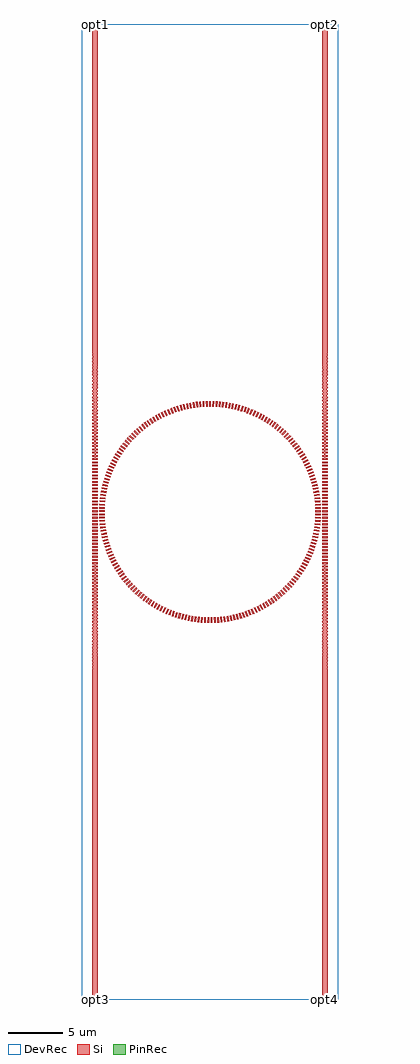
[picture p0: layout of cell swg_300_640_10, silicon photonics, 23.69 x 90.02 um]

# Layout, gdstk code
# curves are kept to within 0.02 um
import gdstk
lib = gdstk.Library(unit=1e-6, precision=1e-09)
def R(c, l, rs):  # rectangles x0, y0, x1, y1
    for r in rs: c.add(gdstk.rectangle(r[:2], r[2:], *l))
def A(c, l, x, y, w, h, nx, ny, dx, dy):  # array of equal rectangles
    R(c, l, [(x+i*dx, y+j*dy, x+i*dx+w, y+j*dy+h) for i in range(nx) for j in range(ny)])
def P(c, l, *ps):  # polygons
    for p in ps: c.add(gdstk.Polygon(p, *l))
Si = (1, 0)
PinRec = (1, 10)
DevRec = (68, 0)

swg_300_640_10 = lib.new_cell('swg_300_640_10')
A(swg_300_640_10, Si, 0, 40.5, 0.5, 0.15, 1, 31, 0, 0.3)
A(swg_300_640_10, Si, 21.188, 40.5, 0.5, 0.15, 1, 31, 0, 0.3)
P(swg_300_640_10, Si, [(0,49.8),(0,49.95),(0.218,49.95),(0.214,50.1),(0,50.1),(0,50.25),(0.211,50.25),(0.208,50.4),(0,50.4),(0,50.55),(0.205,50.55),(0.201,50.7),(0,50.7),(0,50.85),(0.198,50.85),(0.195,51),(0,51),(0,51.15),(0.191,51.15),(0.188,51.3),(0,51.3),(0,51.45),(0.185,51.45),(0.181,51.6),(0,51.6),(0,51.75),(0.178,51.75),(0.175,51.9),(0,51.9),(0,52.05),(0.172,52.05),(0.168,52.2),(0,52.2),(0,52.35),(0.165,52.35),(0.162,52.5),(0,52.5),(0,52.65),(0.158,52.65),(0.155,52.8),(0,52.8),(0,52.95),(0.152,52.95),(0.148,53.1),(0,53.1),(0,53.25),(0.145,53.25),(0.142,53.4),(0,53.4),(0,53.55),(0.139,53.55),(0.135,53.7),(0,53.7),(0,53.85),(0.132,53.85),(0.129,54),(0,54),(0,54.15),(0.125,54.15),(0.122,54.3),(0,54.3),(0,54.45),(0.119,54.45),(0.115,54.6),(0,54.6),(0,54.75),(0.112,54.75),(0.109,54.9),(0,54.9),(0,55.05),(0.106,55.05),(0.102,55.2),(0,55.2),(0,55.35),(0.099,55.35),(0.096,55.5),(0,55.5),(0,55.65),(0.092,55.65),(0.089,55.8),(0,55.8),(0,55.95),(0.086,55.95),(0.082,56.1),(0,56.1),(0,56.25),(0.079,56.25),(0.076,56.4),(0,56.4),(0,56.55),(0.073,56.55),(0.069,56.7),(0,56.7),(0,56.85),(0.066,56.85),(0.063,57),(0,57),(0,57.15),(0.059,57.15),(0.056,57.3),(0,57.3),(0,57.45),(0.053,57.45),(0.049,57.6),(0,57.6),(0,57.75),(0.046,57.75),(0.043,57.9),(0,57.9),(0,58.05),(0.04,58.05),(0.036,58.2),(0,58.2),(0,58.35),(0.033,58.35),(0.03,58.5),(0,58.5),(0,58.65),(0.026,58.65),(0.023,58.8),(0,58.8),(0,90),(0.5,90),(0.5,58.8),(0.477,58.8),(0.474,58.65),(0.5,58.65),(0.5,58.5),(0.47,58.5),(0.467,58.35),(0.5,58.35),(0.5,58.2),(0.464,58.2),(0.46,58.05),(0.5,58.05),(0.5,57.9),(0.457,57.9),(0.454,57.75),(0.5,57.75),(0.5,57.6),(0.45,57.6),(0.447,57.45),(0.5,57.45),(0.5,57.3),(0.444,57.3),(0.441,57.15),(0.5,57.15),(0.5,57),(0.437,57),(0.434,56.85),(0.5,56.85),(0.5,56.7),(0.431,56.7),(0.427,56.55),(0.5,56.55),(0.5,56.4),(0.424,56.4),(0.421,56.25),(0.5,56.25),(0.5,56.1),(0.417,56.1),(0.414,55.95),(0.5,55.95),(0.5,55.8),(0.411,55.8),(0.408,55.65),(0.5,55.65),(0.5,55.5),(0.404,55.5),(0.401,55.35),(0.5,55.35),(0.5,55.2),(0.398,55.2),(0.394,55.05),(0.5,55.05),(0.5,54.9),(0.391,54.9),(0.388,54.75),(0.5,54.75),(0.5,54.6),(0.384,54.6),(0.381,54.45),(0.5,54.45),(0.5,54.3),(0.378,54.3),(0.375,54.15),(0.5,54.15),(0.5,54),(0.371,54),(0.368,53.85),(0.5,53.85),(0.5,53.7),(0.365,53.7),(0.361,53.55),(0.5,53.55),(0.5,53.4),(0.358,53.4),(0.355,53.25),(0.5,53.25),(0.5,53.1),(0.351,53.1),(0.348,52.95),(0.5,52.95),(0.5,52.8),(0.345,52.8),(0.342,52.65),(0.5,52.65),(0.5,52.5),(0.338,52.5),(0.335,52.35),(0.5,52.35),(0.5,52.2),(0.332,52.2),(0.328,52.05),(0.5,52.05),(0.5,51.9),(0.325,51.9),(0.322,51.75),(0.5,51.75),(0.5,51.6),(0.318,51.6),(0.315,51.45),(0.5,51.45),(0.5,51.3),(0.312,51.3),(0.309,51.15),(0.5,51.15),(0.5,51),(0.305,51),(0.302,50.85),(0.5,50.85),(0.5,50.7),(0.299,50.7),(0.295,50.55),(0.5,50.55),(0.5,50.4),(0.292,50.4),(0.289,50.25),(0.5,50.25),(0.5,50.1),(0.285,50.1),(0.282,49.95),(0.5,49.95),(0.5,49.8)],
  [(21.188,49.8),(21.188,49.95),(21.406,49.95),(21.402,50.1),(21.188,50.1),(21.188,50.25),(21.399,50.25),(21.396,50.4),(21.188,50.4),(21.188,50.55),(21.393,50.55),(21.389,50.7),(21.188,50.7),(21.188,50.85),(21.386,50.85),(21.383,51),(21.188,51),(21.188,51.15),(21.379,51.15),(21.376,51.3),(21.188,51.3),(21.188,51.45),(21.373,51.45),(21.369,51.6),(21.188,51.6),(21.188,51.75),(21.366,51.75),(21.363,51.9),(21.188,51.9),(21.188,52.05),(21.36,52.05),(21.356,52.2),(21.188,52.2),(21.188,52.35),(21.353,52.35),(21.35,52.5),(21.188,52.5),(21.188,52.65),(21.346,52.65),(21.343,52.8),(21.188,52.8),(21.188,52.95),(21.34,52.95),(21.336,53.1),(21.188,53.1),(21.188,53.25),(21.333,53.25),(21.33,53.4),(21.188,53.4),(21.188,53.55),(21.327,53.55),(21.323,53.7),(21.188,53.7),(21.188,53.85),(21.32,53.85),(21.317,54),(21.188,54),(21.188,54.15),(21.313,54.15),(21.31,54.3),(21.188,54.3),(21.188,54.45),(21.307,54.45),(21.303,54.6),(21.188,54.6),(21.188,54.75),(21.3,54.75),(21.297,54.9),(21.188,54.9),(21.188,55.05),(21.294,55.05),(21.29,55.2),(21.188,55.2),(21.188,55.35),(21.287,55.35),(21.284,55.5),(21.188,55.5),(21.188,55.65),(21.28,55.65),(21.277,55.8),(21.188,55.8),(21.188,55.95),(21.274,55.95),(21.27,56.1),(21.188,56.1),(21.188,56.25),(21.267,56.25),(21.264,56.4),(21.188,56.4),(21.188,56.55),(21.261,56.55),(21.257,56.7),(21.188,56.7),(21.188,56.85),(21.254,56.85),(21.251,57),(21.188,57),(21.188,57.15),(21.247,57.15),(21.244,57.3),(21.188,57.3),(21.188,57.45),(21.241,57.45),(21.237,57.6),(21.188,57.6),(21.188,57.75),(21.234,57.75),(21.231,57.9),(21.188,57.9),(21.188,58.05),(21.228,58.05),(21.224,58.2),(21.188,58.2),(21.188,58.35),(21.221,58.35),(21.218,58.5),(21.188,58.5),(21.188,58.65),(21.214,58.65),(21.211,58.8),(21.188,58.8),(21.188,90),(21.688,90),(21.688,58.8),(21.665,58.8),(21.662,58.65),(21.688,58.65),(21.688,58.5),(21.658,58.5),(21.655,58.35),(21.688,58.35),(21.688,58.2),(21.652,58.2),(21.648,58.05),(21.688,58.05),(21.688,57.9),(21.645,57.9),(21.642,57.75),(21.688,57.75),(21.688,57.6),(21.638,57.6),(21.635,57.45),(21.688,57.45),(21.688,57.3),(21.632,57.3),(21.629,57.15),(21.688,57.15),(21.688,57),(21.625,57),(21.622,56.85),(21.688,56.85),(21.688,56.7),(21.619,56.7),(21.615,56.55),(21.688,56.55),(21.688,56.4),(21.612,56.4),(21.609,56.25),(21.688,56.25),(21.688,56.1),(21.605,56.1),(21.602,55.95),(21.688,55.95),(21.688,55.8),(21.599,55.8),(21.596,55.65),(21.688,55.65),(21.688,55.5),(21.592,55.5),(21.589,55.35),(21.688,55.35),(21.688,55.2),(21.586,55.2),(21.582,55.05),(21.688,55.05),(21.688,54.9),(21.579,54.9),(21.576,54.75),(21.688,54.75),(21.688,54.6),(21.572,54.6),(21.569,54.45),(21.688,54.45),(21.688,54.3),(21.566,54.3),(21.563,54.15),(21.688,54.15),(21.688,54),(21.559,54),(21.556,53.85),(21.688,53.85),(21.688,53.7),(21.553,53.7),(21.549,53.55),(21.688,53.55),(21.688,53.4),(21.546,53.4),(21.543,53.25),(21.688,53.25),(21.688,53.1),(21.539,53.1),(21.536,52.95),(21.688,52.95),(21.688,52.8),(21.533,52.8),(21.53,52.65),(21.688,52.65),(21.688,52.5),(21.526,52.5),(21.523,52.35),(21.688,52.35),(21.688,52.2),(21.52,52.2),(21.516,52.05),(21.688,52.05),(21.688,51.9),(21.513,51.9),(21.51,51.75),(21.688,51.75),(21.688,51.6),(21.506,51.6),(21.503,51.45),(21.688,51.45),(21.688,51.3),(21.5,51.3),(21.497,51.15),(21.688,51.15),(21.688,51),(21.493,51),(21.49,50.85),(21.688,50.85),(21.688,50.7),(21.487,50.7),(21.483,50.55),(21.688,50.55),(21.688,50.4),(21.48,50.4),(21.477,50.25),(21.688,50.25),(21.688,50.1),(21.473,50.1),(21.47,49.95),(21.688,49.95),(21.688,49.8)],
  [(10.772,54.729),(10.768,55.229),(10.922,55.229),(10.918,54.729)],
  [(2.506,50.013),(2.077,50.271),(2.158,50.402),(2.582,50.138)],
  [(2.088,49.242),(1.638,49.46),(1.707,49.598),(2.153,49.373)],
  [(1.396,47.319),(0.91,47.439),(0.948,47.588),(1.431,47.461)],
  [(1.643,48.161),(1.17,48.323),(1.221,48.468),(1.691,48.299)],
  [(1.225,46.459),(0.731,46.534),(0.755,46.686),(1.248,46.603)],
  [(1.469,47.602),(0.988,47.736),(1.03,47.884),(1.51,47.743)],
  [(10.48,54.722),(10.461,55.222),(10.615,55.226),(10.626,54.727)],
  [(1.965,48.977),(1.509,49.181),(1.572,49.321),(2.026,49.11)],
  [(2.66,50.261),(2.24,50.532),(2.324,50.661),(2.74,50.384)],
  [(6.279,53.592),(6.045,54.033),(6.181,54.104),(6.409,53.659)],
  [(1.742,48.436),(1.274,48.613),(1.33,48.756),(1.795,48.572)],
  [(4.149,52.059),(3.805,52.422),(3.917,52.527),(4.256,52.159)],
  [(6.54,53.725),(6.318,54.173),(6.457,54.24),(6.671,53.789)],
  [(9.028,54.558),(8.935,55.049),(9.086,55.077),(9.172,54.584)],
  [(1.849,48.708),(1.387,48.899),(1.447,49.04),(1.906,48.843)],
  [(5.771,53.302),(5.511,53.729),(5.642,53.808),(5.897,53.377)],
  [(1.155,45.878),(0.657,45.924),(0.672,46.077),(1.169,46.024)],
  [(4.812,52.633),(4.502,53.026),(4.623,53.12),(4.927,52.723)],
  [(6.023,53.451),(5.775,53.885),(5.909,53.96),(6.151,53.522)],
  [(3.541,51.428),(3.165,51.758),(3.268,51.873),(3.638,51.537)],
  [(10.188,54.707),(10.154,55.206),(10.307,55.215),(10.334,54.716)],
  [(0.615,45.002),(0.616,45.156),(1.116,45.149),(1.115,45.002)],
  [(3.168,50.977),(2.773,51.284),(2.868,51.405),(3.258,51.092)],
  [(1.186,46.169),(0.689,46.229),(0.709,46.382),(1.204,46.314)],
  [(5.044,52.811),(4.746,53.213),(4.87,53.303),(5.162,52.898)],
  [(2.822,50.505),(2.41,50.788),(2.498,50.914),(2.906,50.625)],
  [(1.273,46.748),(0.781,46.837),(0.81,46.988),(1.301,46.891)],
  [(7.072,53.968),(6.878,54.429),(7.02,54.487),(7.207,54.024)],
  [(4.585,52.449),(4.264,52.832),(4.382,52.93),(4.698,52.542)],
  [(5.524,53.146),(5.251,53.564),(5.38,53.647),(5.647,53.225)],
  [(7.343,54.077),(7.163,54.544),(7.307,54.598),(7.48,54.129)],
  [(8.175,54.356),(8.037,54.836),(8.186,54.878),(8.315,54.395)],
  [(2.22,49.503),(1.777,49.735),(1.849,49.87),(2.289,49.632)],
  [(1.119,45.295),(0.62,45.31),(0.625,45.464),(1.125,45.441)],
  [(4.364,52.257),(4.031,52.63),(4.147,52.732),(4.474,52.354)],
  [(1.552,47.883),(1.074,48.031),(1.121,48.178),(1.596,48.022)],
  [(9.606,54.65),(9.542,55.146),(9.695,55.164),(9.751,54.667)],
  [(9.316,54.608),(9.238,55.102),(9.39,55.125),(9.461,54.63)],
  [(3.351,51.205),(2.966,51.524),(3.065,51.642),(3.445,51.317)],
  [(8.457,54.432),(8.334,54.916),(8.484,54.953),(8.599,54.466)],
  [(6.804,53.85),(6.596,54.305),(6.736,54.368),(6.937,53.91)],
  [(3.737,51.644),(3.372,51.986),(3.478,52.097),(3.838,51.75)],
  [(3.94,51.855),(3.585,52.207),(3.694,52.315),(4.044,51.958)],
  [(2.991,50.744),(2.588,51.039),(2.68,51.162),(3.079,50.861)],
  [(7.617,54.178),(7.451,54.65),(7.597,54.7),(7.756,54.226)],
  [(5.282,52.982),(4.996,53.392),(5.123,53.479),(5.402,53.065)],
  [(7.895,54.271),(7.743,54.748),(7.89,54.793),(8.034,54.314)],
  [(1.133,45.587),(0.634,45.617),(0.644,45.77),(1.143,45.733)],
  [(8.742,54.499),(8.633,54.987),(8.784,55.019),(8.885,54.53)],
  [(1.33,47.034),(0.841,47.139),(0.874,47.289),(1.362,47.177)],
  [(2.359,49.76),(1.923,50.005),(1.999,50.138),(2.432,49.887)],
  [(9.896,54.683),(9.847,55.18),(10.001,55.194),(10.042,54.696)],
  [(16.408,52.981),(16.288,53.064),(16.567,53.478),(16.694,53.391)],
  [(17.104,52.447),(16.992,52.54),(17.308,52.928),(17.426,52.83)],
  [(15.667,53.449),(15.539,53.521),(15.781,53.959),(15.915,53.884)],
  [(17.325,52.256),(17.216,52.352),(17.543,52.73),(17.659,52.629)],
  [(16.166,53.144),(16.043,53.223),(16.31,53.646),(16.439,53.563)],
  [(12.085,54.65),(11.94,54.667),(11.996,55.164),(12.148,55.145)],
  [(11.211,54.722),(11.064,54.727),(11.076,55.226),(11.229,55.222)],
  [(14.886,53.849),(14.753,53.909),(14.954,54.367),(15.094,54.304)],
  [(14.347,54.076),(14.21,54.128),(14.384,54.597),(14.527,54.543)],
  [(17.541,52.058),(17.434,52.157),(17.772,52.525),(17.885,52.42)],
  [(16.878,52.632),(16.762,52.722),(17.067,53.119),(17.188,53.024)],
  [(14.073,54.178),(13.935,54.225),(14.093,54.699),(14.239,54.649)],
  [(18.149,51.426),(18.052,51.535),(18.422,51.871),(18.524,51.756)],
  [(15.919,53.301),(15.793,53.376),(16.048,53.806),(16.179,53.727)],
  [(11.794,54.683),(11.649,54.696),(11.69,55.194),(11.843,55.18)],
  [(19.84,48.706),(19.783,48.841),(20.242,49.038),(20.302,48.896)],
  [(18.698,50.742),(18.611,50.859),(19.01,51.16),(19.102,51.037)],
  [(13.233,54.431),(13.091,54.466),(13.207,54.952),(13.356,54.916)],
  [(12.662,54.558),(12.518,54.584),(12.604,55.076),(12.756,55.049)],
  [(18.339,51.203),(18.245,51.315),(18.625,51.64),(18.724,51.522)],
  [(20.555,45.585),(20.546,45.73),(21.044,45.768),(21.055,45.615)],
  [(20.415,46.745),(20.388,46.889),(20.878,46.986),(20.907,46.835)],
  [(20.463,46.457),(20.44,46.601),(20.934,46.684),(20.958,46.532)],
  [(11.503,54.707),(11.357,54.715),(11.383,55.215),(11.537,55.206)],
  [(15.15,53.724),(15.019,53.788),(15.233,54.239),(15.372,54.172)],
  [(14.619,53.967),(14.483,54.023),(14.67,54.486),(14.813,54.428)],
  [(12.949,54.499),(12.806,54.529),(12.907,55.019),(13.057,54.987)],
  [(18.867,50.503),(18.783,50.623),(19.191,50.912),(19.279,50.786)],
  [(16.646,52.81),(16.528,52.896),(16.82,53.302),(16.944,53.211)],
  [(20.137,47.881),(20.092,48.02),(20.568,48.175),(20.614,48.029)],
  [(13.796,54.27),(13.656,54.314),(13.8,54.792),(13.947,54.747)],
  [(19.469,49.501),(19.401,49.63),(19.84,49.868),(19.912,49.732)],
  [(19.33,49.758),(19.258,49.885),(19.69,50.136),(19.766,50.003)],
  [(13.516,54.355),(13.375,54.394),(13.505,54.877),(13.653,54.836)],
  [(19.947,48.434),(19.894,48.57),(20.359,48.754),(20.415,48.61)],
  [(20.503,46.167),(20.484,46.312),(20.98,46.38),(20.999,46.227)],
  [(20.573,45),(20.572,45.146),(21.072,45.154),(21.073,45)],
  [(19.183,50.011),(19.107,50.136),(19.532,50.4),(19.612,50.269)],
  [(19.029,50.26),(18.949,50.382),(19.365,50.659),(19.449,50.53)],
  [(17.953,51.642),(17.852,51.749),(18.212,52.095),(18.318,51.984)],
  [(20.293,47.317),(20.257,47.459),(20.741,47.585),(20.779,47.436)],
  [(19.601,49.24),(19.536,49.371),(19.983,49.596),(20.051,49.458)],
  [(18.522,50.975),(18.431,51.09),(18.821,51.403),(18.916,51.282)],
  [(20.046,48.159),(19.997,48.297),(20.468,48.466),(20.519,48.321)],
  [(20.219,47.6),(20.179,47.741),(20.659,47.882),(20.701,47.734)],
  [(15.411,53.591),(15.281,53.658),(15.509,54.103),(15.645,54.032)],
  [(19.724,48.975),(19.663,49.108),(20.117,49.319),(20.18,49.179)],
  [(20.358,47.032),(20.327,47.175),(20.814,47.287),(20.847,47.137)],
  [(20.569,45.292),(20.563,45.439),(21.063,45.461),(21.068,45.307)],
  [(20.533,45.876),(20.519,46.022),(21.016,46.074),(21.031,45.921)],
  [(12.374,54.608),(12.23,54.63),(12.301,55.125),(12.453,55.102)],
  [(17.75,51.853),(17.646,51.956),(17.995,52.314),(18.105,52.205)],
  [(0,0),(0,31.35),(0.023,31.35),(0.026,31.5),(0,31.5),(0,31.65),(0.03,31.65),(0.033,31.8),(0,31.8),(0,31.95),(0.036,31.95),(0.04,32.1),(0,32.1),(0,32.25),(0.043,32.25),(0.046,32.4),(0,32.4),(0,32.55),(0.049,32.55),(0.053,32.7),(0,32.7),(0,32.85),(0.056,32.85),(0.059,33),(0,33),(0,33.15),(0.063,33.15),(0.066,33.3),(0,33.3),(0,33.45),(0.069,33.45),(0.073,33.6),(0,33.6),(0,33.75),(0.076,33.75),(0.079,33.9),(0,33.9),(0,34.05),(0.082,34.05),(0.086,34.2),(0,34.2),(0,34.35),(0.089,34.35),(0.092,34.5),(0,34.5),(0,34.65),(0.096,34.65),(0.099,34.8),(0,34.8),(0,34.95),(0.102,34.95),(0.106,35.1),(0,35.1),(0,35.25),(0.109,35.25),(0.112,35.4),(0,35.4),(0,35.55),(0.115,35.55),(0.119,35.7),(0,35.7),(0,35.85),(0.122,35.85),(0.125,36),(0,36),(0,36.15),(0.129,36.15),(0.132,36.3),(0,36.3),(0,36.45),(0.135,36.45),(0.139,36.6),(0,36.6),(0,36.75),(0.142,36.75),(0.145,36.9),(0,36.9),(0,37.05),(0.148,37.05),(0.152,37.2),(0,37.2),(0,37.35),(0.155,37.35),(0.158,37.5),(0,37.5),(0,37.65),(0.162,37.65),(0.165,37.8),(0,37.8),(0,37.95),(0.168,37.95),(0.172,38.1),(0,38.1),(0,38.25),(0.175,38.25),(0.178,38.4),(0,38.4),(0,38.55),(0.181,38.55),(0.185,38.7),(0,38.7),(0,38.85),(0.188,38.85),(0.191,39),(0,39),(0,39.15),(0.195,39.15),(0.198,39.3),(0,39.3),(0,39.45),(0.201,39.45),(0.205,39.6),(0,39.6),(0,39.75),(0.208,39.75),(0.211,39.9),(0,39.9),(0,40.05),(0.214,40.05),(0.218,40.2),(0,40.2),(0,40.35),(0.5,40.35),(0.5,40.2),(0.282,40.2),(0.285,40.05),(0.5,40.05),(0.5,39.9),(0.289,39.9),(0.292,39.75),(0.5,39.75),(0.5,39.6),(0.295,39.6),(0.299,39.45),(0.5,39.45),(0.5,39.3),(0.302,39.3),(0.305,39.15),(0.5,39.15),(0.5,39),(0.309,39),(0.312,38.85),(0.5,38.85),(0.5,38.7),(0.315,38.7),(0.318,38.55),(0.5,38.55),(0.5,38.4),(0.322,38.4),(0.325,38.25),(0.5,38.25),(0.5,38.1),(0.328,38.1),(0.332,37.95),(0.5,37.95),(0.5,37.8),(0.335,37.8),(0.338,37.65),(0.5,37.65),(0.5,37.5),(0.342,37.5),(0.345,37.35),(0.5,37.35),(0.5,37.2),(0.348,37.2),(0.351,37.05),(0.5,37.05),(0.5,36.9),(0.355,36.9),(0.358,36.75),(0.5,36.75),(0.5,36.6),(0.361,36.6),(0.365,36.45),(0.5,36.45),(0.5,36.3),(0.368,36.3),(0.371,36.15),(0.5,36.15),(0.5,36),(0.375,36),(0.378,35.85),(0.5,35.85),(0.5,35.7),(0.381,35.7),(0.384,35.55),(0.5,35.55),(0.5,35.4),(0.388,35.4),(0.391,35.25),(0.5,35.25),(0.5,35.1),(0.394,35.1),(0.398,34.95),(0.5,34.95),(0.5,34.8),(0.401,34.8),(0.404,34.65),(0.5,34.65),(0.5,34.5),(0.408,34.5),(0.411,34.35),(0.5,34.35),(0.5,34.2),(0.414,34.2),(0.417,34.05),(0.5,34.05),(0.5,33.9),(0.421,33.9),(0.424,33.75),(0.5,33.75),(0.5,33.6),(0.427,33.6),(0.431,33.45),(0.5,33.45),(0.5,33.3),(0.434,33.3),(0.437,33.15),(0.5,33.15),(0.5,33),(0.441,33),(0.444,32.85),(0.5,32.85),(0.5,32.7),(0.447,32.7),(0.45,32.55),(0.5,32.55),(0.5,32.4),(0.454,32.4),(0.457,32.25),(0.5,32.25),(0.5,32.1),(0.46,32.1),(0.464,31.95),(0.5,31.95),(0.5,31.8),(0.467,31.8),(0.47,31.65),(0.5,31.65),(0.5,31.5),(0.474,31.5),(0.477,31.35),(0.5,31.35),(0.5,0)],
  [(21.188,0),(21.188,31.35),(21.211,31.35),(21.214,31.5),(21.188,31.5),(21.188,31.65),(21.218,31.65),(21.221,31.8),(21.188,31.8),(21.188,31.95),(21.224,31.95),(21.228,32.1),(21.188,32.1),(21.188,32.25),(21.231,32.25),(21.234,32.4),(21.188,32.4),(21.188,32.55),(21.237,32.55),(21.241,32.7),(21.188,32.7),(21.188,32.85),(21.244,32.85),(21.247,33),(21.188,33),(21.188,33.15),(21.251,33.15),(21.254,33.3),(21.188,33.3),(21.188,33.45),(21.257,33.45),(21.261,33.6),(21.188,33.6),(21.188,33.75),(21.264,33.75),(21.267,33.9),(21.188,33.9),(21.188,34.05),(21.27,34.05),(21.274,34.2),(21.188,34.2),(21.188,34.35),(21.277,34.35),(21.28,34.5),(21.188,34.5),(21.188,34.65),(21.284,34.65),(21.287,34.8),(21.188,34.8),(21.188,34.95),(21.29,34.95),(21.294,35.1),(21.188,35.1),(21.188,35.25),(21.297,35.25),(21.3,35.4),(21.188,35.4),(21.188,35.55),(21.303,35.55),(21.307,35.7),(21.188,35.7),(21.188,35.85),(21.31,35.85),(21.313,36),(21.188,36),(21.188,36.15),(21.317,36.15),(21.32,36.3),(21.188,36.3),(21.188,36.45),(21.323,36.45),(21.327,36.6),(21.188,36.6),(21.188,36.75),(21.33,36.75),(21.333,36.9),(21.188,36.9),(21.188,37.05),(21.336,37.05),(21.34,37.2),(21.188,37.2),(21.188,37.35),(21.343,37.35),(21.346,37.5),(21.188,37.5),(21.188,37.65),(21.35,37.65),(21.353,37.8),(21.188,37.8),(21.188,37.95),(21.356,37.95),(21.36,38.1),(21.188,38.1),(21.188,38.25),(21.363,38.25),(21.366,38.4),(21.188,38.4),(21.188,38.55),(21.369,38.55),(21.373,38.7),(21.188,38.7),(21.188,38.85),(21.376,38.85),(21.379,39),(21.188,39),(21.188,39.15),(21.383,39.15),(21.386,39.3),(21.188,39.3),(21.188,39.45),(21.389,39.45),(21.393,39.6),(21.188,39.6),(21.188,39.75),(21.396,39.75),(21.399,39.9),(21.188,39.9),(21.188,40.05),(21.402,40.05),(21.406,40.2),(21.188,40.2),(21.188,40.35),(21.688,40.35),(21.688,40.2),(21.47,40.2),(21.473,40.05),(21.688,40.05),(21.688,39.9),(21.477,39.9),(21.48,39.75),(21.688,39.75),(21.688,39.6),(21.483,39.6),(21.487,39.45),(21.688,39.45),(21.688,39.3),(21.49,39.3),(21.493,39.15),(21.688,39.15),(21.688,39),(21.497,39),(21.5,38.85),(21.688,38.85),(21.688,38.7),(21.503,38.7),(21.506,38.55),(21.688,38.55),(21.688,38.4),(21.51,38.4),(21.513,38.25),(21.688,38.25),(21.688,38.1),(21.516,38.1),(21.52,37.95),(21.688,37.95),(21.688,37.8),(21.523,37.8),(21.526,37.65),(21.688,37.65),(21.688,37.5),(21.53,37.5),(21.533,37.35),(21.688,37.35),(21.688,37.2),(21.536,37.2),(21.539,37.05),(21.688,37.05),(21.688,36.9),(21.543,36.9),(21.546,36.75),(21.688,36.75),(21.688,36.6),(21.549,36.6),(21.553,36.45),(21.688,36.45),(21.688,36.3),(21.556,36.3),(21.559,36.15),(21.688,36.15),(21.688,36),(21.563,36),(21.566,35.85),(21.688,35.85),(21.688,35.7),(21.569,35.7),(21.572,35.55),(21.688,35.55),(21.688,35.4),(21.576,35.4),(21.579,35.25),(21.688,35.25),(21.688,35.1),(21.582,35.1),(21.586,34.95),(21.688,34.95),(21.688,34.8),(21.589,34.8),(21.592,34.65),(21.688,34.65),(21.688,34.5),(21.596,34.5),(21.599,34.35),(21.688,34.35),(21.688,34.2),(21.602,34.2),(21.605,34.05),(21.688,34.05),(21.688,33.9),(21.609,33.9),(21.612,33.75),(21.688,33.75),(21.688,33.6),(21.615,33.6),(21.619,33.45),(21.688,33.45),(21.688,33.3),(21.622,33.3),(21.625,33.15),(21.688,33.15),(21.688,33),(21.629,33),(21.632,32.85),(21.688,32.85),(21.688,32.7),(21.635,32.7),(21.638,32.55),(21.688,32.55),(21.688,32.4),(21.642,32.4),(21.645,32.25),(21.688,32.25),(21.688,32.1),(21.648,32.1),(21.652,31.95),(21.688,31.95),(21.688,31.8),(21.655,31.8),(21.658,31.65),(21.688,31.65),(21.688,31.5),(21.662,31.5),(21.665,31.35),(21.688,31.35),(21.688,0)],
  [(19.447,39.466),(19.026,39.737),(19.104,39.86),(19.529,39.596)],
  [(11.225,34.778),(11.206,35.278),(11.352,35.284),(11.378,34.785)],
  [(18.521,38.24),(18.146,38.571),(18.242,38.681),(18.622,38.356)],
  [(17.655,37.368),(17.322,37.741),(17.43,37.839),(17.769,37.471)],
  [(14.234,35.349),(14.069,35.821),(14.206,35.87),(14.379,35.401)],
  [(21.054,44.381),(20.555,44.411),(20.563,44.557),(21.062,44.534)],
  [(15.641,35.966),(15.407,36.407),(15.535,36.477),(15.776,36.039)],
  [(15.367,35.826),(15.146,36.274),(15.277,36.34),(15.505,35.895)],
  [(12.144,34.854),(12.08,35.35),(12.225,35.37),(12.296,34.875)],
  [(21.068,44.688),(20.568,44.703),(20.572,44.849),(21.072,44.841)],
  [(16.69,36.606),(16.404,37.017),(16.524,37.101),(16.816,36.695)],
  [(20.846,42.859),(20.357,42.963),(20.387,43.107),(20.877,43.009)],
  [(12.448,34.898),(12.37,35.391),(12.514,35.415),(12.6,34.923)],
  [(15.09,35.694),(14.882,36.149),(15.015,36.21),(15.229,35.759)],
  [(10.917,34.771),(10.914,35.271),(11.06,35.273),(11.071,34.774)],
  [(18.101,37.791),(17.746,38.144),(17.849,38.248),(18.209,37.901)],
  [(15.911,36.114),(15.663,36.548),(15.789,36.622),(16.044,36.191)],
  [(11.838,34.819),(11.79,35.317),(11.935,35.332),(11.991,34.836)],
  [(17.881,37.576),(17.537,37.939),(17.643,38.041),(17.992,37.683)],
  [(14.523,35.455),(14.343,35.922),(14.479,35.976),(14.666,35.512)],
  [(19.764,39.993),(19.328,40.238),(19.398,40.366),(19.838,40.128)],
  [(19.91,40.263),(19.467,40.495),(19.534,40.625),(19.98,40.4)],
  [(21.031,44.074),(20.533,44.119),(20.545,44.265),(21.044,44.227)],
  [(20.3,41.099),(19.838,41.29),(19.893,41.425),(20.358,41.242)],
  [(20.777,42.559),(20.292,42.678),(20.326,42.821),(20.813,42.709)],
  [(20.7,42.262),(20.218,42.395),(20.256,42.537),(20.74,42.41)],
  [(20.906,43.16),(20.414,43.25),(20.44,43.394),(20.933,43.312)],
  [(19.609,39.727),(19.181,39.985),(19.255,40.111),(19.688,39.859)],
  [(20.613,41.967),(20.135,42.115),(20.178,42.255),(20.657,42.114)],
  [(20.413,41.385),(19.945,41.562),(19.996,41.699),(20.466,41.529)],
  [(20.999,43.768),(20.502,43.828),(20.519,43.974),(21.016,43.921)],
  [(20.957,43.464),(20.463,43.539),(20.484,43.683),(20.979,43.616)],
  [(19.277,39.21),(18.864,39.493),(18.946,39.614),(19.363,39.337)],
  [(11.532,34.794),(11.498,35.293),(11.644,35.304),(11.685,34.806)],
  [(16.175,36.27),(15.915,36.697),(16.039,36.774),(16.306,36.351)],
  [(20.517,41.674),(20.044,41.837),(20.091,41.976),(20.566,41.82)],
  [(18.315,38.013),(17.949,38.354),(18.048,38.462),(18.419,38.126)],
  [(13.052,35.012),(12.944,35.5),(13.087,35.533),(13.202,35.046)],
  [(20.178,40.817),(19.722,41.021),(19.781,41.155),(20.24,40.957)],
  [(16.94,36.786),(16.642,37.187),(16.759,37.275),(17.063,36.878)],
  [(13.943,35.252),(13.791,35.728),(13.93,35.773),(14.089,35.299)],
  [(18.721,38.474),(18.336,38.793),(18.428,38.906),(18.818,38.593)],
  [(18.913,38.714),(18.519,39.021),(18.608,39.137),(19.007,38.836)],
  [(13.648,35.163),(13.511,35.644),(13.652,35.685),(13.796,35.206)],
  [(12.751,34.95),(12.658,35.442),(12.801,35.47),(12.902,34.98)],
  [(14.808,35.57),(14.614,36.031),(14.749,36.089),(14.949,35.631)],
  [(16.435,36.434),(16.162,36.853),(16.284,36.934),(16.563,36.519)],
  [(20.049,40.538),(19.599,40.756),(19.661,40.888),(20.115,40.677)],
  [(19.099,38.959),(18.695,39.254),(18.781,39.373),(19.189,39.084)],
  [(13.351,35.083),(13.229,35.568),(13.37,35.605),(13.5,35.122)],
  [(17.184,36.973),(16.874,37.365),(16.988,37.457),(17.304,37.069)],
  [(17.422,37.167),(17.101,37.55),(17.212,37.645),(17.539,37.267)],
  [(8.033,35.165),(7.885,35.208),(8.03,35.687),(8.17,35.646)],
  [(0.73,43.471),(0.708,43.623),(1.204,43.69),(1.224,43.545)],
  [(2.585,38.965),(2.495,39.09),(2.903,39.379),(2.989,39.26)],
  [(8.629,35.014),(8.479,35.048),(8.595,35.535),(8.737,35.502)],
  [(1.774,40.27),(1.704,40.407),(2.151,40.631),(2.218,40.501)],
  [(1.385,41.106),(1.328,41.248),(1.793,41.432),(1.848,41.296)],
  [(3.582,37.796),(3.474,37.906),(3.835,38.253),(3.937,38.148)],
  [(6.314,35.829),(6.177,35.898),(6.405,36.343),(6.535,36.277)],
  [(0.633,44.388),(0.625,44.541),(1.125,44.564),(1.132,44.418)],
  [(6.873,35.573),(6.732,35.634),(6.933,36.092),(7.067,36.034)],
  [(2.237,39.472),(2.155,39.602),(2.58,39.866),(2.658,39.742)],
  [(5.247,36.438),(5.119,36.523),(5.398,36.938),(5.52,36.857)],
  [(9.537,34.855),(9.385,34.876),(9.456,35.37),(9.601,35.351)],
  [(0.656,44.081),(0.644,44.234),(1.142,44.272),(1.154,44.126)],
  [(4.028,37.373),(3.914,37.476),(4.253,37.844),(4.361,37.746)],
  [(7.158,35.458),(7.015,35.515),(7.203,35.978),(7.339,35.924)],
  [(0.78,43.167),(0.754,43.319),(1.247,43.401),(1.272,43.257)],
  [(0.62,44.695),(0.616,44.849),(1.116,44.856),(1.119,44.71)],
  [(10.763,34.771),(10.61,34.774),(10.621,35.274),(10.767,35.271)],
  [(4.498,36.977),(4.378,37.074),(4.694,37.461),(4.808,37.369)],
  [(0.986,42.269),(0.946,42.417),(1.43,42.543),(1.468,42.402)],
  [(3.162,38.246),(3.061,38.362),(3.442,38.686),(3.538,38.576)],
  [(0.909,42.566),(0.873,42.716),(1.361,42.827),(1.394,42.685)],
  [(4.992,36.61),(4.866,36.699),(5.159,37.105),(5.278,37.021)],
  [(2.77,38.72),(2.677,38.842),(3.076,39.143),(3.165,39.027)],
  [(1.636,40.545),(1.57,40.683),(2.024,40.894),(2.086,40.762)],
  [(1.921,39.999),(1.847,40.134),(2.286,40.372),(2.357,40.244)],
  [(2.075,39.733),(1.997,39.866),(2.429,40.117),(2.504,39.991)],
  [(2.407,39.216),(2.321,39.343),(2.738,39.62),(2.82,39.499)],
  [(5.506,36.274),(5.376,36.355),(5.643,36.778),(5.767,36.701)],
  [(1.272,41.392),(1.219,41.536),(1.69,41.705),(1.74,41.568)],
  [(5.771,36.117),(5.638,36.195),(5.893,36.625),(6.019,36.552)],
  [(10.149,34.795),(9.996,34.806),(10.037,35.304),(10.183,35.293)],
  [(1.507,40.823),(1.445,40.964),(1.904,41.161),(1.963,41.027)],
  [(8.33,35.085),(8.181,35.124),(8.311,35.607),(8.452,35.569)],
  [(0.84,42.866),(0.809,43.016),(1.3,43.113),(1.329,42.97)],
  [(1.168,41.681),(1.12,41.827),(1.595,41.982),(1.641,41.843)],
  [(10.456,34.778),(10.303,34.785),(10.329,35.285),(10.475,35.278)],
  [(9.233,34.899),(9.081,34.924),(9.167,35.417),(9.312,35.392)],
  [(8.93,34.952),(8.779,34.982),(8.88,35.471),(9.023,35.443)],
  [(6.592,35.697),(6.452,35.762),(6.667,36.213),(6.8,36.151)],
  [(2.962,38.48),(2.865,38.599),(3.255,38.912),(3.348,38.798)],
  [(3.369,38.018),(3.264,38.131),(3.635,38.467),(3.734,38.359)],
  [(3.802,37.581),(3.691,37.688),(4.04,38.045),(4.146,37.944)],
  [(4.26,37.172),(4.143,37.271),(4.471,37.649),(4.582,37.554)],
  [(1.073,41.973),(1.029,42.121),(1.508,42.261),(1.551,42.121)],
  [(7.738,35.254),(7.592,35.302),(7.751,35.776),(7.89,35.73)],
  [(7.447,35.352),(7.302,35.404),(7.475,35.873),(7.613,35.823)],
  [(9.843,34.82),(9.69,34.836),(9.746,35.333),(9.892,35.318)],
  [(4.742,36.79),(4.62,36.883),(4.924,37.28),(5.041,37.191)],
  [(6.04,35.969),(5.905,36.042),(6.147,36.48),(6.275,36.41)],
  [(0.689,43.775),(0.671,43.928),(1.169,43.981),(1.185,43.835)])
R(swg_300_640_10, DevRec, [(-1,0,22.688,90)])
swg_300_640_10.add(gdstk.FlexPath([(0.25,89.99),(0.25,90.01)], 0.5, ends="flush", simple_path=True, layer=1, datatype=10))  # PinRec
swg_300_640_10.add(gdstk.FlexPath([(21.438,89.99),(21.438,90.01)], 0.5, ends="flush", simple_path=True, layer=1, datatype=10))  # PinRec
swg_300_640_10.add(gdstk.FlexPath([(0.25,0.01),(0.25,-0.01)], 0.5, ends="flush", simple_path=True, layer=1, datatype=10))  # PinRec
swg_300_640_10.add(gdstk.FlexPath([(21.438,0.01),(21.438,-0.01)], 0.5, ends="flush", simple_path=True, layer=1, datatype=10))  # PinRec
swg_300_640_10.add(gdstk.Label('opt1', (0.25,90), layer=1, texttype=10))
swg_300_640_10.add(gdstk.Label('opt2', (21.438,90), layer=1, texttype=10))
swg_300_640_10.add(gdstk.Label('opt3', (0.25,0), layer=1, texttype=10))
swg_300_640_10.add(gdstk.Label('opt4', (21.438,0), layer=1, texttype=10))

lib.write_gds('swg_300_640_10.gds')
